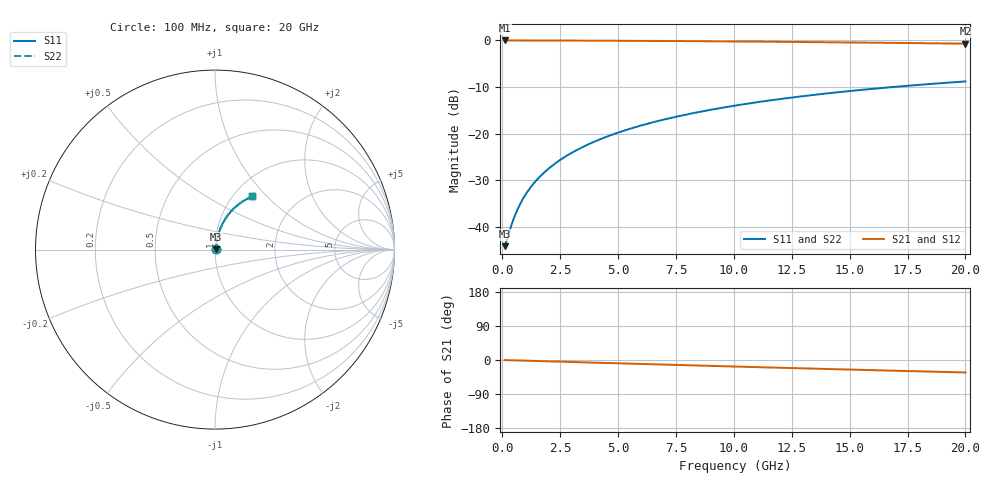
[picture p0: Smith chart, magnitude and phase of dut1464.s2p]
! Touchstone file exported from HFSS 2026.1.0
!  File:  C:/ffzhzh/LocalFiles/Ansys_Project_Files/temp_train_BSMRDL_1464_1783180971_43440.aedt
!  Generated:  12:04:01 AM Jul  5, 2026
!  Design:  BSMRDL
!  Project:  temp_train_BSMRDL_1464_1783180971_43440
! Variables:
!  h_bsmrdl = 2.52um
!  h_ox = 20um
!  h_rdl = 5um
!  h_sub = 80um
!  h_tmrdl = 5um
!  h_tsv = 80um
!  h_via = 3um
!  l_bsmrdl = 437.37um
!  l_sub = 837.37um
!  l_tmrdl = 200um
!  m_sub = 200um
!  pitch = 32.74um
!  r_tsv = 6um
!  s_tmrdl = 10um
!  w_bsmrdl = 10.66um
!  w_sub = 500um
!  w_tmrdl = 12um
!  x_tsv_center1 = 206um
!  x_tsv_center2 = 654.03um
!  x_tsv_center3 = 866.03um
!  x_tsv_center4 = 1314.06um
!  x_tsv_center5 = 1526.06um
!  x_tsv_center6 = 1974.09um
# GHz S MA R 50.000000
! Terminal data exported
! Port[1] = BSM_RDL1_1_T1
! Port[2] = BSM_RDL1_1_T2
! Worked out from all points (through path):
!   200 points, 100 MHz to 20 GHz, reference 50 ohm
!   highest |S21| = -0.05 dB at 100 MHz (marker M1); lowest = -0.7 dB at 20 GHz (marker M2)
!   group delay of S21, straight-line fit = 4.58 ps
!   lowest |S11| = -44.1 dB at 100 MHz (marker M3), VSWR 1.01, Z = 50.6 + j0.22 ohm
!   |S11| at or under -10 dB: start of sweep to 16.92 GHz
!   |S22| runs from -44.1 to -8.8 dB; largest |S21 - S12| = 3e-15
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0.1  0.006238 20.4  0.9942 -0.2  0.9942 -0.2  0.006238 20.4
! Gamma 0 0 0 0
! Port Impedance 50 0 50 0
0.2  0.007326 36.2  0.9941 -0.4  0.9941 -0.4  0.007326 36.2
0.4  0.01056 54.6  0.9939 -0.7  0.9939 -0.7  0.01056 54.6
0.5  0.01241 59.7  0.9938 -0.9  0.9938 -0.9  0.01241 59.7
0.7  0.01627 66.1  0.9936 -1.3  0.9936 -1.3  0.01627 66.1
0.8  0.01823 68.2  0.9935 -1.4  0.9935 -1.4  0.01823 68.2
1  0.02219 71.2  0.9933 -1.8  0.9933 -1.8  0.02219 71.2
1.3  0.02816 74.0  0.993 -2.3  0.993 -2.3  0.02816 74.0
1.7  0.03617 76.1  0.9925 -3.0  0.9925 -3.0  0.03617 76.1
2.2  0.04622 77.4  0.992 -3.9  0.992 -3.9  0.04622 77.4
2.8  0.05832 78.0  0.9912 -4.9  0.9912 -4.9  0.05832 78.0
3.5  0.07243 78.0  0.99 -6.2  0.99 -6.2  0.07243 78.0
4.2  0.08649 77.6  0.9887 -7.4  0.9887 -7.4  0.08649 77.6
5  0.1025 76.9  0.987 -8.7  0.987 -8.7  0.1025 76.9
5.9  0.1203 75.8  0.9847 -10.3  0.9847 -10.3  0.1203 75.9
6.8  0.1379 74.6  0.9821 -11.8  0.9821 -11.8  0.1379 74.7
8.3  0.1668 72.5  0.977 -14.4  0.977 -14.4  0.1668 72.6
10.1  0.2004 69.8  0.97 -17.4  0.97 -17.4  0.2004 69.9
11.7  0.2293 67.3  0.963 -20.0  0.963 -20.0  0.2293 67.4
13.4  0.2589 64.7  0.9549 -22.8  0.9549 -22.8  0.2589 64.8
16.7  0.3128 59.7  0.9375 -27.9  0.9375 -27.9  0.3128 59.9
20  0.3621 54.9  0.9189 -32.9  0.9189 -32.9  0.362 55.1
